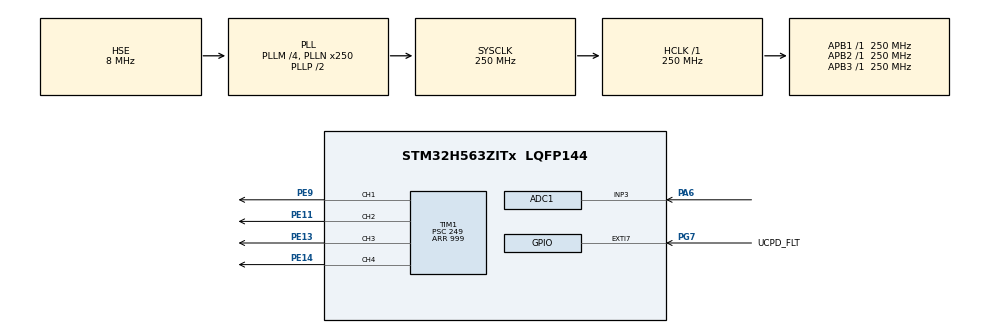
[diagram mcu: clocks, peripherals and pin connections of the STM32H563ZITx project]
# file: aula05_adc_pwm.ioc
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ADC1.Channel-0\#ChannelRegularConversion=ADC_CHANNEL_3
ADC1.MonitoredBy-0\#ChannelRegularConversion=__NULL
ADC1.NbrOfConversionFlag=1
ADC1.OffsetNumber-0\#ChannelRegularConversion=ADC_OFFSET_NONE
ADC1.Rank-0\#ChannelRegularConversion=1
ADC1.SamplingTime-0\#ChannelRegularConversion=ADC_SAMPLETIME_247CYCLES_5
ADC1.master=1
BOOTPATH.BootPathName=LEGACY
BOOTPATH.UserSelectedBootPath=LEGACY
CORTEX_M33_NS.Number-Cortex_Memory_Protection_Unit_Region0_OTP_RO_AREAS_Settings=MPU_REGION_NUMBER0
CORTEX_M33_NS.default_mode_Activation=1
CORTEX_M33_NS.userName=CORTEX_M33
Mcu.Family=STM32H5
Mcu.Name=STM32H563ZITx
Mcu.Package=LQFP144
NUCLEO-H563ZI.BUTTON=1
NUCLEO-H563ZI.LD1=true
NUCLEO-H563ZI.LD2=true
NUCLEO-H563ZI.LD3=true
NUCLEO-H563ZI.VCP=true
NVIC.EXTI13_IRQn=true\:0\:0\:false\:false\:true\:false\:true\:true
NVIC.PriorityGroup=NVIC_PRIORITYGROUP_4
PA1.GPIO_Label=RMII_REF_CLK
PA1.GPIO_Mode=GPIO_MODE_AF_PP
PA1.GPIO_PuPd=GPIO_NOPULL
PA1.GPIO_Speed=GPIO_SPEED_FREQ_LOW
PA1.Signal=ETH_RMII_REF_CLK
PA11.GPIO_Label=USB_FS_N
PA11.Signal=USB_DM
PA12.GPIO_Label=USB_FS_P
PA12.Signal=USB_DP
PA13(JTMS/SWDIO).GPIO_Label=SWDIO
PA13(JTMS/SWDIO).Signal=DEBUG_JTMS-SWDIO
PA14(JTCK/SWCLK).GPIO_Label=SWCLK
PA14(JTCK/SWCLK).Signal=DEBUG_JTCK-SWCLK
PA15(JTDI).GPIO_Label=T_JTDI
PA15(JTDI).Signal=DEBUG_JTDI
PA2.GPIO_Label=RMII_MDIO
PA2.GPIO_Mode=GPIO_MODE_AF_PP
PA2.GPIO_PuPd=GPIO_NOPULL
PA2.GPIO_Speed=GPIO_SPEED_FREQ_LOW
PA2.Signal=ETH_MDIO
PA4.GPIO_Label=VBUS_SENSE
PA4.Signal=ADCx_INP18
PA6.Signal=ADCx_INP3
PA7.GPIO_Label=RMII_CRS_DV
PA7.GPIO_Mode=GPIO_MODE_AF_PP
PA7.GPIO_PuPd=GPIO_NOPULL
PA7.GPIO_Speed=GPIO_SPEED_FREQ_LOW
PA7.Signal=ETH_RMII_CRS_DV
PA9.GPIO_Label=UCDP_DBn
PA9.Signal=UCPD1_DB1
PB13.GPIO_Label=UCPD_CC1
PB13.Signal=UCPD1_CC1
PB14.GPIO_Label=UCPD_CC2
PB14.Signal=UCPD1_CC2
PB15.GPIO_Label=RMII_TXD1
PB15.GPIO_Mode=GPIO_MODE_AF_PP
PB15.GPIO_PuPd=GPIO_NOPULL
PB15.GPIO_Speed=GPIO_SPEED_FREQ_LOW
PB15.Signal=ETH_RMII_TXD1
PB3(JTDO/TRACESWO).GPIO_Label=SWO
PB3(JTDO/TRACESWO).Signal=DEBUG_JTDO-SWO
PB6.GPIO_Label=ARD_D1_TX
PB6.Signal=LPUART1_TX
PB7.GPIO_Label=ARD_D0_RX
PB7.Signal=LPUART1_RX
PC1.GPIO_Label=RMII_MDC
PC1.GPIO_Mode=GPIO_MODE_AF_PP
PC1.GPIO_PuPd=GPIO_NOPULL
PC1.GPIO_Speed=GPIO_SPEED_FREQ_LOW
PC1.Signal=ETH_MDC
PC14-OSC32_IN(OSC32_IN).Mode=LSE-External-Oscillator
PC14-OSC32_IN(OSC32_IN).Signal=RCC_OSC32_IN
PC15-OSC32_OUT(OSC32_OUT).Mode=LSE-External-Oscillator
PC15-OSC32_OUT(OSC32_OUT).Signal=RCC_OSC32_OUT
PC4.GPIO_Label=RMII_RXD0
PC4.GPIO_Mode=GPIO_MODE_AF_PP
PC4.GPIO_PuPd=GPIO_NOPULL
PC4.GPIO_Speed=GPIO_SPEED_FREQ_LOW
PC4.Signal=ETH_RMII_RXD0
PC5.GPIO_Label=RMII_RXD1
PC5.GPIO_Mode=GPIO_MODE_AF_PP
PC5.GPIO_PuPd=GPIO_NOPULL
PC5.GPIO_Speed=GPIO_SPEED_FREQ_LOW
PC5.Signal=ETH_RMII_RXD1
PD8.Signal=USART3_TX
PD9.Signal=USART3_RX
PE11.Signal=S_TIM1_CH2
PE13.Signal=S_TIM1_CH3
PE14.Signal=S_TIM1_CH4
PE2.GPIO_Label=TRACE_CK
PE2.Signal=DEBUG_TRACECLK
PE3.GPIO_Label=TRACE_D0
PE3.Signal=DEBUG_TRACED0
PE4.GPIO_Label=TRACE_D1
PE4.Signal=DEBUG_TRACED1
PE5.GPIO_Label=TRACE_D2
PE5.Signal=DEBUG_TRACED2
PE6.GPIO_Label=TRACE_D3
PE6.Signal=DEBUG_TRACED3
PE9.Signal=S_TIM1_CH1
PG11.GPIO_Label=RMII_TXT_EN
PG11.GPIO_Mode=GPIO_MODE_AF_PP
PG11.GPIO_PuPd=GPIO_NOPULL
PG11.GPIO_Speed=GPIO_SPEED_FREQ_LOW
PG11.Signal=ETH_RMII_TX_EN
PG13.GPIO_Label=RMI_TXD0
PG13.GPIO_Mode=GPIO_MODE_AF_PP
PG13.GPIO_PuPd=GPIO_NOPULL
PG13.GPIO_Speed=GPIO_SPEED_FREQ_LOW
PG13.Signal=ETH_RMII_TXD0
PG7.GPIO_Label=UCPD_FLT
PG7.Signal=GPXTI7
PH0-OSC_IN(PH0).GPIO_Label=STLK_MCO
PH0-OSC_IN(PH0).Mode=HSE-External-Clock-Source
PH0-OSC_IN(PH0).Signal=RCC_OSC_IN
ProjectManager.HeapSize=0x200
ProjectManager.StackSize=0x400
ProjectManager.TargetToolchain=STM32CubeIDE
RCC.ADCFreq_Value=250000000
RCC.AHBFreq_Value=250000000
RCC.APB1Freq_Value=250000000
RCC.APB1TimFreq_Value=250000000
RCC.APB2Freq_Value=250000000
RCC.APB2TimFreq_Value=250000000
RCC.APB3Freq_Value=250000000
RCC.CSI_VALUE=4000000
RCC.CortexFreq_Value=250000000
RCC.EPOD_VALUE=8000000
RCC.HCLKFreq_Value=250000000
RCC.HSE_VALUE=8000000
RCC.HSI48_VALUE=48000000
RCC.HSIDiv=RCC_HSI_DIV1
RCC.HSI_VALUE=64000000
RCC.LSIRC_VALUE=32000
RCC.PLL2FRACN=0
RCC.PLL3FRACN=0
RCC.PLLFRACN=0
RCC.PLLM=4
RCC.PLLN=250
RCC.PLLSourceVirtual=RCC_PLL1_SOURCE_HSE
RCC.SYSCLKFreq_VALUE=250000000
RCC.SYSCLKSource=RCC_SYSCLKSOURCE_PLLCLK
RCC.USBFreq_Value=48000000
RCC.VCOOutputFreq_Value=500000000
SH.ADCx_INP18.0=ADC1_INP18
SH.ADCx_INP3.0=ADC1_INP3,IN3-Single-Ended
SH.S_TIM1_CH1.0=TIM1_CH1,PWM Generation1 CH1
SH.S_TIM1_CH2.0=TIM1_CH2,PWM Generation2 CH2
SH.S_TIM1_CH3.0=TIM1_CH3,PWM Generation3 CH3
SH.S_TIM1_CH4.0=TIM1_CH4,PWM Generation4 CH4
TIM1.AutoReloadPreload=TIM_AUTORELOAD_PRELOAD_ENABLE
TIM1.Channel-PWM\ Generation1\ CH1=TIM_CHANNEL_1
TIM1.Channel-PWM\ Generation2\ CH2=TIM_CHANNEL_2
TIM1.Channel-PWM\ Generation3\ CH3=TIM_CHANNEL_3
TIM1.Channel-PWM\ Generation4\ CH4=TIM_CHANNEL_4
TIM1.PeriodNoDither=999
TIM1.Prescaler=249
VP_BOOTPATH_VS_BOOTPATH.Mode=BP_Activate
VP_CORTEX_M33_NS_VS_Hclk.Mode=Hclk_Mode
VP_ICACHE_VS_ICACHE.Mode=DirectMappedCache
VP_MEMORYMAP_VS_MEMORYMAP.Mode=CurAppReg
VP_NUCLEO-H563ZI_VS_BSP_COMMON.Mode=COMMON
VP_PWR_VS_DBSignals.Mode=DisableDeadBatterySignals
VP_PWR_VS_LPOM.Mode=PowerOptimisation
VP_PWR_VS_SECSignals.Mode=Security/Privilege
VP_TIM1_VS_ClockSourceINT.Mode=Internal
board=NUCLEO-H563ZI

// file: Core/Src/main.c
/* USER CODE BEGIN Header */
/**
  ******************************************************************************
  * @file           : main.c
  * @brief          : Main program body
  ******************************************************************************
  * @attention
  *
  * Copyright (c) 2026 STMicroelectronics.
  * All rights reserved.
  *
  * This software is licensed under terms that can be found in the LICENSE file
  * in the root directory of this software component.
  * If no LICENSE file comes with this software, it is provided AS-IS.
  *
  ******************************************************************************
  */
/* USER CODE END Header */
#include "main.h"
#include "adc.h"
#include "icache.h"
#include "tim.h"
#include "gpio.h"

/* USER CODE BEGIN Includes */
#include <stdio.h>
/* USER CODE END Includes */

/* USER CODE BEGIN PD */
/* Escolha o exemplo da aula (1 a 5), compile e grave de novo:
 *  1 - ADC: leitura do potenciometro (valor bruto e mV) na serial
 *  2 - ADC: media de 16 leituras para reduzir o ruido
 *  3 - PWM: LED do PE9 com 10 %, 50 % e 90 % de duty cycle
 *  4 - PWM: "fade" (rampa de brilho) no LED do PE9
 *  5 - ADC + PWM: o potenciometro controla o brilho do LED do PE9 */
#define EXEMPLO       1

#define VREF_MV       3300U   /* tensao de referencia do ADC (VREF+ = 3,3 V) */
#define ADC_MAX       4095U   /* maior valor de 12 bits                      */
#define N_MEDIA       16U     /* leituras usadas na media (exemplo 2)        */
/* USER CODE END PD */

COM_InitTypeDef BspCOMInit;

/* USER CODE BEGIN PV */
/* variaveis globais: acompanhe em Live Expressions */
uint32_t adc_raw   = 0;   /* ultima leitura do ADC (0 a 4095)          */
uint32_t tensao_mv = 0;   /* leitura convertida para milivolts         */
uint32_t duty_ccr  = 0;   /* valor do CCR1: 0 a 1000 (ARR + 1 = 1000)  */
/* USER CODE END PV */

void SystemClock_Config(void);
static void MPU_Config(void);

/* USER CODE BEGIN 0 */
/* uma conversao por polling: dispara, espera o fim e le o resultado */
uint32_t adc_le(void)
{
  uint32_t valor = 0;

  HAL_ADC_Start(&hadc1);
  if (HAL_ADC_PollForConversion(&hadc1, 10) == HAL_OK)
  {
    valor = HAL_ADC_GetValue(&hadc1);
  }
  HAL_ADC_Stop(&hadc1);
  return valor;
}

/* media de n leituras: reduz o ruido da medida */
uint32_t adc_le_media(uint32_t n)
{
  uint32_t soma = 0;

  for (uint32_t i = 0; i < n; i++)
  {
    soma += adc_le();
  }
  return soma / n;
}

/* 0..4095 -> 0..3300 mV */
uint32_t adc_para_mv(uint32_t raw)
{
  return (raw * VREF_MV) / ADC_MAX;
}

/* 0..4095 -> 0..1000 (CCR para ARR = 999) */
uint32_t adc_para_ccr(uint32_t raw)
{
  return (raw * (__HAL_TIM_GET_AUTORELOAD(&htim1) + 1U)) / (ADC_MAX + 1U);
}
/* USER CODE END 0 */

int main(void)
{

  /* MCU Configuration--------------------------------------------------------*/

  /* MPU Configuration--------------------------------------------------------*/
  MPU_Config();

  /* Reset of all peripherals, Initializes the Flash interface and the Systick. */
  HAL_Init();

  /* Configure the system clock */
  SystemClock_Config();

  /* Initialize all configured peripherals */
  MX_GPIO_Init();
  MX_ICACHE_Init();
  MX_ADC1_Init();
  MX_TIM1_Init();
  /* USER CODE BEGIN 2 */
  /* calibra o ADC (com ele desligado) antes da primeira conversao */
  if (HAL_ADCEx_Calibration_Start(&hadc1, ADC_SINGLE_ENDED) != HAL_OK)
  {
    Error_Handler();
  }

  /* liga o PWM nos 4 canais do TIM1 (PE9, PE11, PE13, PE14), duty = 0 */
  HAL_TIM_PWM_Start(&htim1, TIM_CHANNEL_1);
  HAL_TIM_PWM_Start(&htim1, TIM_CHANNEL_2);
  HAL_TIM_PWM_Start(&htim1, TIM_CHANNEL_3);
  HAL_TIM_PWM_Start(&htim1, TIM_CHANNEL_4);
  /* USER CODE END 2 */

  /* Initialize leds */
  BSP_LED_Init(LED_GREEN);
  BSP_LED_Init(LED_YELLOW);
  BSP_LED_Init(LED_RED);

  /* Initialize USER push-button, will be used to trigger an interrupt each time it's pressed.*/
  BSP_PB_Init(BUTTON_USER, BUTTON_MODE_EXTI);

  /* Initialize COM1 port (115200, 8 bits (7-bit data + 1 stop bit), no parity */
  BspCOMInit.BaudRate   = 115200;
  BspCOMInit.WordLength = COM_WORDLENGTH_8B;
  BspCOMInit.StopBits   = COM_STOPBITS_1;
  BspCOMInit.Parity     = COM_PARITY_NONE;
  BspCOMInit.HwFlowCtl  = COM_HWCONTROL_NONE;
  if (BSP_COM_Init(COM1, &BspCOMInit) != BSP_ERROR_NONE)
  {
    Error_Handler();
  }

  /* Infinite loop */
  /* USER CODE BEGIN WHILE */
  printf("\r\nAula 05 - ADC e PWM - exemplo %d\r\n", EXEMPLO);

#if EXEMPLO == 3
  const uint32_t duty_pct[3] = { 10, 50, 90 };
  uint32_t       passo       = 0;
#elif EXEMPLO == 4
  int32_t        sobe        = 1;
#endif

  while (1)
  {
#if EXEMPLO == 1
    adc_raw   = adc_le();
    tensao_mv = adc_para_mv(adc_raw);
    printf("raw = %4lu   tensao = %4lu mV\r\n", adc_raw, tensao_mv);
    HAL_Delay(200);

#elif EXEMPLO == 2
    uint32_t uma = adc_le();
    adc_raw      = adc_le_media(N_MEDIA);
    tensao_mv    = adc_para_mv(adc_raw);
    printf("uma leitura = %4lu   media de %lu = %4lu   (%4lu mV)\r\n",
           uma, (unsigned long)N_MEDIA, adc_raw, tensao_mv);
    HAL_Delay(200);

#elif EXEMPLO == 3
    duty_ccr = duty_pct[passo] * 10U;               /* % -> CCR (0..1000) */
    __HAL_TIM_SET_COMPARE(&htim1, TIM_CHANNEL_1, duty_ccr);
    printf("duty = %2lu %%   CCR1 = %4lu\r\n", duty_pct[passo], duty_ccr);
    passo = (passo + 1U) % 3U;
    HAL_Delay(1000);

#elif EXEMPLO == 4
    if (sobe)
    {
      duty_ccr += 5U;
      if (duty_ccr >= 1000U) { sobe = 0; }
    }
    else
    {
      duty_ccr -= 5U;
      if (duty_ccr == 0U) { sobe = 1; }
    }
    __HAL_TIM_SET_COMPARE(&htim1, TIM_CHANNEL_1, duty_ccr);
    HAL_Delay(2);                                   /* 0 -> 100 % em 0,4 s */

#elif EXEMPLO == 5
    adc_raw   = adc_le_media(N_MEDIA);
    tensao_mv = adc_para_mv(adc_raw);
    duty_ccr  = adc_para_ccr(adc_raw);
    __HAL_TIM_SET_COMPARE(&htim1, TIM_CHANNEL_1, duty_ccr);
    printf("%4lu mV -> duty %3lu.%lu %%\r\n", tensao_mv, duty_ccr / 10U, duty_ccr % 10U);
    HAL_Delay(100);
#endif
    /* USER CODE END WHILE */

  }
}

void SystemClock_Config(void)
{
  RCC_OscInitTypeDef RCC_OscInitStruct = {0};
  RCC_ClkInitTypeDef RCC_ClkInitStruct = {0};

  /** Configure the main internal regulator output voltage
  */
  __HAL_PWR_VOLTAGESCALING_CONFIG(PWR_REGULATOR_VOLTAGE_SCALE0);

  while(!__HAL_PWR_GET_FLAG(PWR_FLAG_VOSRDY)) {}

  /** Initializes the RCC Oscillators according to the specified parameters
  * in the RCC_OscInitTypeDef structure.
  */
  RCC_OscInitStruct.OscillatorType = RCC_OSCILLATORTYPE_HSE;
  RCC_OscInitStruct.HSEState = RCC_HSE_BYPASS;
  RCC_OscInitStruct.PLL.PLLState = RCC_PLL_ON;
  RCC_OscInitStruct.PLL.PLLSource = RCC_PLL1_SOURCE_HSE;
  RCC_OscInitStruct.PLL.PLLM = 4;
  RCC_OscInitStruct.PLL.PLLN = 250;
  RCC_OscInitStruct.PLL.PLLP = 2;
  RCC_OscInitStruct.PLL.PLLQ = 2;
  RCC_OscInitStruct.PLL.PLLR = 2;
  RCC_OscInitStruct.PLL.PLLRGE = RCC_PLL1_VCIRANGE_1;
  RCC_OscInitStruct.PLL.PLLVCOSEL = RCC_PLL1_VCORANGE_WIDE;
  RCC_OscInitStruct.PLL.PLLFRACN = 0;
  if (HAL_RCC_OscConfig(&RCC_OscInitStruct) != HAL_OK)
  {
    Error_Handler();
  }

  /** Initializes the CPU, AHB and APB buses clocks
  */
  RCC_ClkInitStruct.ClockType = RCC_CLOCKTYPE_HCLK|RCC_CLOCKTYPE_SYSCLK
                              |RCC_CLOCKTYPE_PCLK1|RCC_CLOCKTYPE_PCLK2
                              |RCC_CLOCKTYPE_PCLK3;
  RCC_ClkInitStruct.SYSCLKSource = RCC_SYSCLKSOURCE_PLLCLK;
  RCC_ClkInitStruct.AHBCLKDivider = RCC_SYSCLK_DIV1;
  RCC_ClkInitStruct.APB1CLKDivider = RCC_HCLK_DIV1;
  RCC_ClkInitStruct.APB2CLKDivider = RCC_HCLK_DIV1;
  RCC_ClkInitStruct.APB3CLKDivider = RCC_HCLK_DIV1;

  if (HAL_RCC_ClockConfig(&RCC_ClkInitStruct, FLASH_LATENCY_5) != HAL_OK)
  {
    Error_Handler();
  }

  /** Configure the programming delay
  */
  __HAL_FLASH_SET_PROGRAM_DELAY(FLASH_PROGRAMMING_DELAY_2);
}

 /* MPU Configuration */

void MPU_Config(void)
{
  MPU_Region_InitTypeDef MPU_InitStruct = {0};
  MPU_Attributes_InitTypeDef MPU_AttributesInit = {0};

  /* Disables the MPU */
  HAL_MPU_Disable();

  /** Initializes and configures the Region 0 and the memory to be protected
  */
  MPU_InitStruct.Enable = MPU_REGION_ENABLE;
  MPU_InitStruct.Number = MPU_REGION_NUMBER0;
  MPU_InitStruct.BaseAddress = 0x08FFF000;
  MPU_InitStruct.LimitAddress = 0x08FFFFFF;
  MPU_InitStruct.AttributesIndex = MPU_ATTRIBUTES_NUMBER0;
  MPU_InitStruct.AccessPermission = MPU_REGION_ALL_RO;
  MPU_InitStruct.DisableExec = MPU_INSTRUCTION_ACCESS_DISABLE;
  MPU_InitStruct.IsShareable = MPU_ACCESS_NOT_SHAREABLE;

  HAL_MPU_ConfigRegion(&MPU_InitStruct);

  /** Initializes and configures the Attribute 0 and the memory to be protected
  */
  MPU_AttributesInit.Number = MPU_ATTRIBUTES_NUMBER0;
  MPU_AttributesInit.Attributes = INNER_OUTER(MPU_NOT_CACHEABLE);

  HAL_MPU_ConfigMemoryAttributes(&MPU_AttributesInit);
  /* Enables the MPU */
  HAL_MPU_Enable(MPU_PRIVILEGED_DEFAULT);

}

void Error_Handler(void)
{
  __disable_irq();
  while (1)
  {
  }
}
